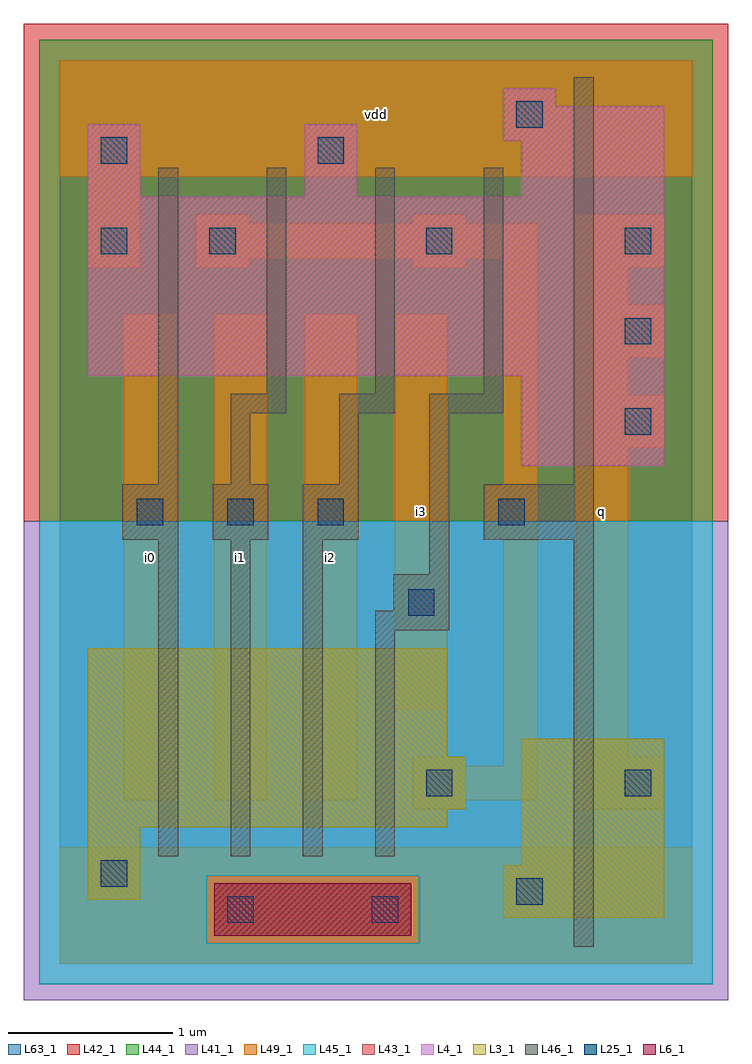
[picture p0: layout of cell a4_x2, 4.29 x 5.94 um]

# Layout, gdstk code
import gdstk
lib = gdstk.Library(unit=1e-6, precision=1e-09)
def R(c, l, rs):  # rectangles x0, y0, x1, y1
    for r in rs: c.add(gdstk.rectangle(r[:2], r[2:], *l))
def A(c, l, x, y, w, h, nx, ny, dx, dy):  # array of equal rectangles
    R(c, l, [(x+i*dx, y+j*dy, x+i*dx+w, y+j*dy+h) for i in range(nx) for j in range(ny)])
L3_1 = (3, 1)
L4_1 = (4, 1)
L6_1 = (6, 1)
L25_1 = (25, 1)
L41_1 = (41, 1)
L42_1 = (42, 1)
L43_1 = (43, 1)
L44_1 = (44, 1)
L45_1 = (45, 1)
L46_1 = (46, 1)
L49_1 = (49, 1)
L63_1 = (63, 1)

a4_x2 = lib.new_cell('a4_x2')
R(a4_x2, L3_1, [(2.7,0.28,3.68,0.6), (0.17,0.39,0.49,0.83), (2.81,0.6,3.68,1.37), (0.17,0.83,2.36,0.94), (0.17,0.94,2.47,1.26), (0.17,1.26,2.36,1.92)])
R(a4_x2, L4_1, [(2.81,3.03,3.68,3.58), (0.17,3.58,3.68,4.67), (0.17,4.67,0.49,5.11), (1.49,4.67,1.81,5.11), (2.81,4.67,3.68,5.01), (2.7,5.01,3.68,5.22), (2.7,5.22,3.02,5.33)])
R(a4_x2, L6_1, [(0.94,0.17,2.14,0.49)])
A(a4_x2, L25_1, 0.47, 2.67, 0.16, 0.16, 3, 1, 0.55, 0)
A(a4_x2, L25_1, 3.44, 3.22, 0.16, 0.16, 1, 3, 0, 0.55)
R(a4_x2, L25_1, [(1.02,0.25,1.18,0.41), (1.9,0.25,2.06,0.41), (2.78,0.36,2.94,0.52), (0.25,0.47,0.41,0.63), (2.23,1.02,2.39,1.18), (3.44,1.02,3.6,1.18), (2.12,2.12,2.28,2.28), (2.67,2.67,2.83,2.83), (0.25,4.32,0.41,4.48), (0.91,4.32,1.07,4.48), (2.23,4.32,2.39,4.48), (0.25,4.87,0.41,5.03), (1.57,4.87,1.73,5.03), (2.78,5.09,2.94,5.25)])
R(a4_x2, L41_1, [(-0.22,-0.22,4.07,2.695)])
R(a4_x2, L42_1, [(-0.22,2.695,4.07,5.72)])
R(a4_x2, L43_1, [(0.94,0.17,2.14,0.49), (2.7,0.28,3.68,0.6), (0.17,0.39,0.49,0.83), (2.81,0.6,3.68,1.37), (0.17,0.83,2.36,0.94), (0.17,0.94,2.47,1.26), (0.17,1.26,2.36,1.92), (2.81,3.03,3.68,3.58), (0.17,3.58,3.68,4.67), (0.17,4.67,0.49,5.11), (1.49,4.67,1.81,5.11), (2.81,4.67,3.68,5.01), (2.7,5.01,3.68,5.22), (2.7,5.22,3.02,5.33)])
R(a4_x2, L44_1, [(0.895,0.125,2.185,0.535), (-0.125,2.695,3.975,5.625)])
R(a4_x2, L45_1, [(-0.125,-0.125,3.975,0.125), (-0.125,0.125,0.895,0.535), (2.185,0.125,3.975,0.535), (-0.125,0.535,3.975,2.695)])
A(a4_x2, L46_1, 0.6, 0.655, 0.12, 1.925, 3, 1, 0.44, 0)
A(a4_x2, L46_1, 0.38, 2.58, 0.34, 0.34, 3, 1, 0.55, 0)
A(a4_x2, L46_1, 1.26, 3.47, 0.12, 1.375, 3, 1, 0.66, 0)
R(a4_x2, L46_1, [(3.13,0.105,3.25,2.58), (1.92,0.655,2.04,2.03), (1.92,2.03,2.37,2.15), (2.03,2.15,2.37,2.37), (2.25,2.37,2.37,3.35), (2.58,2.58,3.25,2.92), (0.6,2.92,0.72,4.845), (1.04,2.92,1.16,3.35), (1.7,2.92,1.82,3.35), (3.13,2.92,3.25,5.395), (1.04,3.35,1.38,3.47), (1.7,3.35,2.04,3.47), (2.25,3.35,2.7,3.47)])
A(a4_x2, L49_1, 0.39, 0.995, 0.32, 2.96, 3, 1, 0.55, 0)
A(a4_x2, L49_1, 3.14, 3.14, 0.54, 0.32, 1, 3, 0, 0.55)
R(a4_x2, L49_1, [(0,0,3.85,0.71), (2.15,0.94,2.47,0.995), (3.14,0.94,3.68,1.26), (2.15,0.995,2.91,1.205), (2.15,1.205,2.47,1.26), (2.7,1.205,2.91,2.59), (3.14,1.26,3.46,3.14), (2.04,1.545,2.36,3.955), (2.59,2.59,2.91,2.91), (2.7,2.91,2.91,4.295), (3.14,3.46,3.46,3.69), (3.14,4.01,3.46,4.24), (0.17,4.24,0.49,4.79), (0.83,4.24,1.15,4.295), (2.15,4.24,2.47,4.295), (0.83,4.295,2.91,4.505), (0.83,4.505,1.15,4.56), (2.15,4.505,2.47,4.56), (0,4.79,3.85,5.5)])
R(a4_x2, L63_1, [(0,0,3.85,5.5)])
a4_x2.add(gdstk.Label('i0', (0.55,2.475), layer=49, texttype=1))
a4_x2.add(gdstk.Label('i0', (0.55,2.475), layer=49, texttype=1))
a4_x2.add(gdstk.Label('i2', (1.65,2.475), layer=49, texttype=1))
a4_x2.add(gdstk.Label('i1', (1.1,2.475), layer=49, texttype=1))
a4_x2.add(gdstk.Label('i2', (1.65,2.475), layer=49, texttype=1))
a4_x2.add(gdstk.Label('i1', (1.1,2.475), layer=49, texttype=1))
a4_x2.add(gdstk.Label('i3', (2.2,2.75), layer=49, texttype=1))
a4_x2.add(gdstk.Label('i3', (2.2,2.75), layer=49, texttype=1))
a4_x2.add(gdstk.Label('vdd', (1.925,5.17), layer=49, texttype=1))
a4_x2.add(gdstk.Label('vdd', (1.925,5.17), layer=49, texttype=1))
a4_x2.add(gdstk.Label('q', (3.3,2.75), layer=49, texttype=1))
a4_x2.add(gdstk.Label('q', (3.3,2.75), layer=49, texttype=1))

lib.write_gds('a4_x2.gds')
